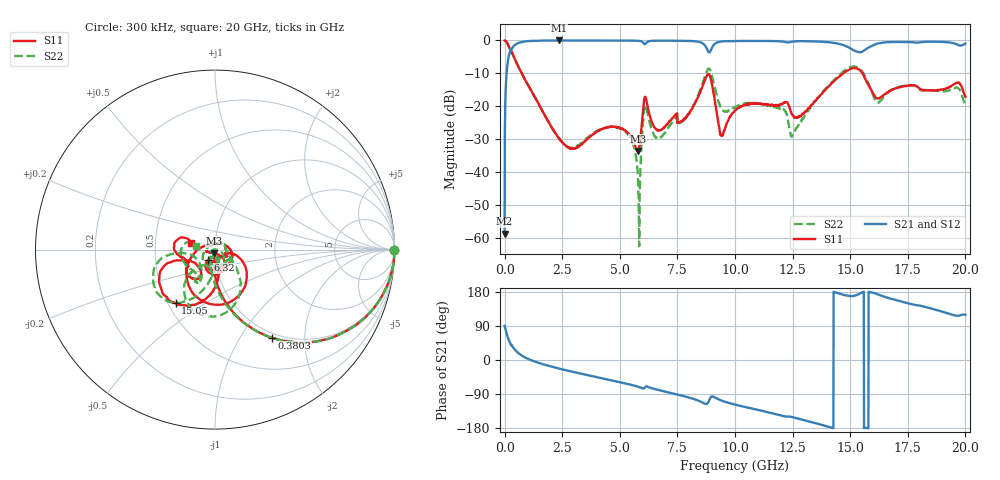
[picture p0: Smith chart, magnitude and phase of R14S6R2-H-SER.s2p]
!{R14S6R2}
!Johanson Technology Inc.
!www.johansontechnology.com
!Test Board Conditions:
!Substrate Type  RO4350B
!Substrate Thickness  20 mil
!Substrate Dk  3.66
!TL Type: GCPW
!TL Trace Width  36 mil
!TL Gap  12 mil
!Electrode orientation  Horizontal
!DUT TOPOLOGY	SERIES
!Mounting Pad LxW  26x36 mil
! Created Wed Nov 25 17:33:21 2020
! 2 Port Network Data from SP1.SP block
! freq  magS11  angS11  magS21  angS21  magS12  angS12  magS22  angS22
# khz S ma R 50
! decimated to every 10th point (10 MHz spacing) of the original 1 MHz Johanson file; values unchanged
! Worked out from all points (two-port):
!   2001 points, 300 kHz to 20 GHz, reference 50 ohm
!   highest |S21| = -0.02 dB at 2.36 GHz (marker M1); lowest = -58.8 dB at 300 kHz (marker M2)
!   |S21| within 3 dB of the highest: 255.8 MHz to 8.81 GHz (8.555 GHz wide, 189 % of centre); 8.948 GHz to 15.16 GHz (6.214 GHz wide, 51.5 % of centre)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
!   lowest |S11| = -33.7 dB at 5.78 GHz (marker M3), VSWR 1.04, Z = 49.5 - j2 ohm
!   |S11| at or under -10 dB: 740.5 MHz to 14.71 GHz (13.97 GHz wide, 181 % of centre); 15.54 GHz to end of sweep
!   |S22| runs from -62.6 to 0.0 dB; largest |S21 - S12| = 0.016
!   S11 on the Smith chart (normalised r, x): 300 kHz: open; 380.3 MHz: 0.93, -1.38; 6.32 GHz: 0.92, -0.11; 15.05 GHz: 0.55, -0.38; 20 GHz: 0.76, +0.06
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300  0.9959 -0.3  0.001153 90.0  0.001177 92.4  0.9951 -0.2
120300  0.9044 -26.3  0.4232 63.6  0.4243 63.5  0.9042 -26.2
380300  0.5828 -57.3  0.8071 32.4  0.8081 32.3  0.5836 -57.3
2360300  0.03264 -92.0  0.9979 -22.5  0.9971 -22.5  0.03251 -129.8
3340300  0.02606 -140.1  0.9972 -36.5  0.9958 -36.4  0.02775 -110.0
5170300  0.04346 -163.7  0.9947 -60.9  0.9949 -61.0  0.0427 -133.8
5590300  0.0288 -144.3  0.9927 -66.9  0.9927 -66.9  0.02572 -155.1
5780300  0.02077 -103.0  0.9879 -70.0  0.988 -70.1  0.00925 -172.8
5890300  0.0309 -58.6  0.9789 -72.3  0.9799 -72.3  0.00986 0.5
6080300  0.1362 -80.6  0.8779 -72.7  0.8779 -72.7  0.101 -82.8
6320300  0.06809 -123.4  0.9804 -73.2  0.9801 -73.2  0.05237 -179.6
6670300  0.04252 -89.1  0.991 -79.1  0.9908 -79.1  0.03247 112.8
8840300  0.3089 -83.1  0.6752 -111.3  0.6749 -111.4  0.3719 -89.2
9400300  0.03549 101.6  0.9609 -106.9  0.9616 -106.8  0.09364 -116.9
1.00003e7  0.0856 -0.9  0.98 -117.5  0.9795 -117.6  0.09653 -62.7
1.20603e7  0.108 -87.9  0.9619 -147.4  0.964 -147.3  0.09001 -46.5
1.25003e7  0.07286 -111.4  0.9594 -150.7  0.9625 -150.7  0.03684 -58.8
1.33403e7  0.106 -79.6  0.9694 -164.3  0.9704 -164.3  0.1027 -88.0
1.50503e7  0.3709 -126.2  0.7459 168.6  0.7432 168.1  0.3987 -136.5
1.61603e7  0.1332 -142.1  0.8881 174.1  0.8891 174.1  0.1145 -150.8
1.66703e7  0.1646 -118.8  0.94 163.5  0.9368 163.2  0.1647 -116.9
2e7  0.1396 165.1  0.8955 119.2  0.8942 119.3  0.1071 169.4
